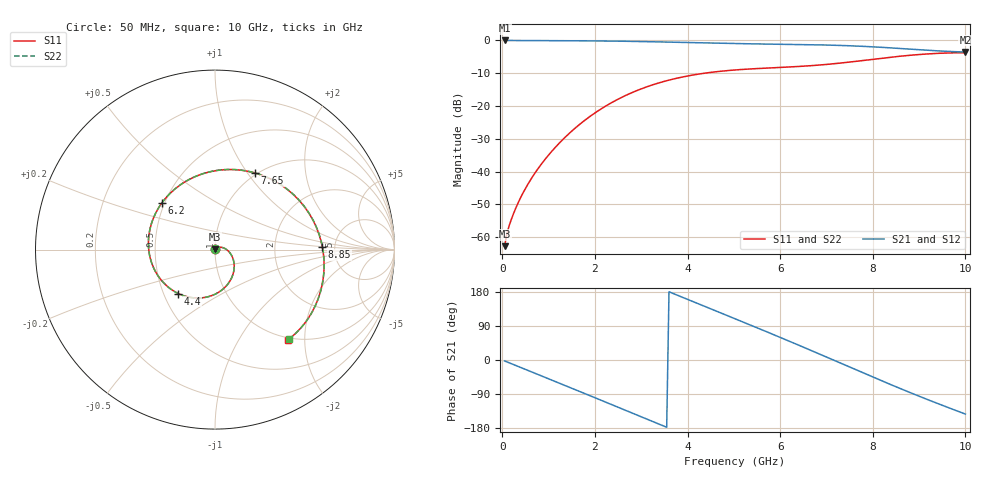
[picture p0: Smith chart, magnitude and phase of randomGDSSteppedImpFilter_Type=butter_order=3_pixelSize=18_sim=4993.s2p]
! freq	dB(S11)	phase(S11)	dB(S12)	phase(S12)
!  dB(S21)	phase(S21)	dB(S22)	phase(S22)
!S-par simulation data
#  GHz  S  DB  R 50
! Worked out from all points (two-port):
!   200 points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, 50 MHz to 10 GHz, reference 50 ohm
!   highest |S21| = 0.00 dB at 50 MHz (marker M1); lowest = -3.5 dB at 10 GHz (marker M2)
!   |S21| within 3 dB of the highest: start of sweep to 9.192 GHz
!   lowest |S11| = -62.8 dB at 50 MHz (marker M3), VSWR 1.00, Z = 50 + j0.0651 ohm
!   |S11| at or under -10 dB: start of sweep to 4.365 GHz
!   |S22| runs from -62.8 to -3.8 dB; largest |S21 - S12| = 0
!   S11 on the Smith chart (normalised r, x): 50 MHz: 1.00, +0.00; 4.4 GHz: 0.60, -0.32; 6.2 GHz: 0.48, +0.30; 7.65 GHz: 0.98, +1.09; 8.85 GHz: 3.96, +0.19; 10 GHz: 0.97, -1.66
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0.05  -62.78 63.6  -0.00 -2.5  -0.00 -2.5  -62.78 63.7
0.1  -58.89 62.0  -0.01 -5.0  -0.01 -5.0  -58.89 62.0
0.25  -52.57 67.5  -0.02 -12.5  -0.02 -12.5  -52.58 67.6
0.6  -42.76 60.6  -0.04 -29.8  -0.04 -29.8  -42.76 60.7
1.2  -31.79 31.9  -0.07 -59.5  -0.07 -59.5  -31.79 32.0
1.75  -24.71 4.2  -0.11 -87.0  -0.11 -87.0  -24.71 4.3
2.1  -21.19 -13.5  -0.15 -104.5  -0.15 -104.5  -21.19 -13.4
2.5  -17.92 -34.0  -0.22 -124.6  -0.22 -124.6  -17.92 -33.9
2.95  -15.05 -56.9  -0.32 -147.3  -0.32 -147.3  -15.05 -56.8
3.4  -12.88 -79.8  -0.45 -170.0  -0.45 -170.0  -12.88 -79.6
3.9  -11.13 -104.9  -0.62 165.0  -0.62 165.0  -11.13 -104.7
4.4  -9.93 -129.8  -0.78 140.0  -0.78 140.0  -9.93 -129.6
5.05  -8.98 -162.2  -0.96 107.6  -0.96 107.6  -8.98 -162.0
5.6  -8.51 170.0  -1.08 80.0  -1.08 80.0  -8.51 170.3
6.2  -8.10 139.0  -1.19 49.5  -1.19 49.5  -8.10 139.4
6.7  -7.66 112.7  -1.30 23.5  -1.30 23.5  -7.66 113.2
7.15  -7.12 88.9  -1.46 -0.1  -1.46 -0.1  -7.12 89.3
7.65  -6.35 62.4  -1.71 -26.4  -1.71 -26.4  -6.35 62.9
8.35  -5.18 26.2  -2.23 -62.9  -2.23 -62.9  -5.18 26.8
8.85  -4.47 1.5  -2.69 -88.2  -2.69 -88.2  -4.47 2.0
9.4  -3.94 -24.3  -3.18 -114.8  -3.18 -114.8  -3.94 -23.8
10  -3.80 -51.0  -3.53 -142.7  -3.53 -142.7  -3.79 -50.5
